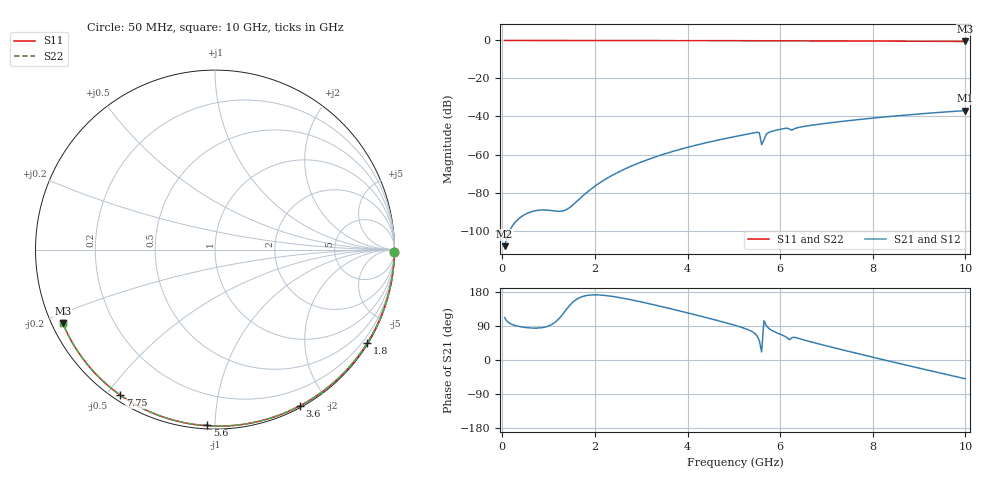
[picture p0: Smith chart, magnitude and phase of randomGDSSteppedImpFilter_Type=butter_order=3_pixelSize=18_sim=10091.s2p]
! freq	dB(S11)	phase(S11)	dB(S12)	phase(S12)
!  dB(S21)	phase(S21)	dB(S22)	phase(S22)
!S-par simulation data
#  GHz  S  DB  R 50
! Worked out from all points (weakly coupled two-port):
!   200 points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, 50 MHz to 10 GHz, reference 50 ohm
!   highest |S21| = -36.91 dB at 10 GHz (marker M1); lowest = -108.2 dB at 50 MHz (marker M2)
!   lowest |S11| = -0.5 dB at 10 GHz (marker M3), VSWR 33.35, Z = 1.58 - j11.4 ohm
!   |S11| at or under -10 dB: nowhere
!   |S22| runs from -0.5 to 0.0 dB; largest |S21 - S12| = 0
!   S11 on the Smith chart (normalised r, x): 50 MHz: open; 1.8 GHz: 0.03, -3.53; 3.6 GHz: 0.02, -1.68; 5.6 GHz: 0.02, -0.96; 7.75 GHz: 0.02, -0.54; 10 GHz: 0.03, -0.23
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0.05  -0.00 -0.9  -108.22 111.7  -108.22 111.7  -0.00 -0.9
0.9  -0.02 -16.0  -89.17 86.3  -89.17 86.3  -0.02 -16.0
1.75  -0.04 -30.8  -81.53 168.1  -81.53 168.1  -0.04 -30.8
1.8  -0.04 -31.6  -80.48 169.6  -80.48 169.6  -0.04 -31.7
2.2  -0.05 -38.5  -73.42 170.6  -73.42 170.6  -0.05 -38.5
2.5  -0.06 -43.5  -69.35 165.4  -69.35 165.4  -0.06 -43.6
2.9  -0.07 -50.2  -64.93 155.9  -64.93 155.9  -0.07 -50.2
3.4  -0.08 -58.4  -60.51 142.1  -60.51 142.1  -0.08 -58.4
3.6  -0.08 -61.6  -58.98 136.3  -58.98 136.3  -0.08 -61.7
4.25  -0.10 -71.9  -54.69 116.7  -54.69 116.7  -0.10 -72.0
5.05  -0.13 -84.2  -50.43 90.6  -50.43 90.6  -0.13 -84.3
5.55  -0.16 -91.8  -48.54 51.1  -48.54 51.1  -0.16 -91.8
5.6  -0.18 -92.4  -54.81 21.3  -54.81 21.3  -0.18 -92.5
5.7  -0.16 -93.8  -49.30 90.7  -49.30 90.7  -0.16 -93.9
5.8  -0.16 -95.3  -47.93 79.3  -47.93 79.3  -0.16 -95.4
6.15  -0.18 -100.4  -46.13 58.6  -46.13 58.6  -0.18 -100.5
6.25  -0.19 -101.9  -47.21 58.6  -47.21 58.6  -0.19 -101.9
6.4  -0.20 -104.0  -45.75 56.9  -45.75 56.9  -0.20 -104.1
6.7  -0.21 -108.3  -44.53 46.7  -44.53 46.7  -0.21 -108.4
7.75  -0.29 -123.0  -41.47 14.7  -41.47 14.7  -0.29 -123.1
8.35  -0.34 -131.3  -40.03 -2.8  -40.03 -2.8  -0.34 -131.4
10  -0.52 -154.2  -36.91 -49.6  -36.91 -49.6  -0.52 -154.3
